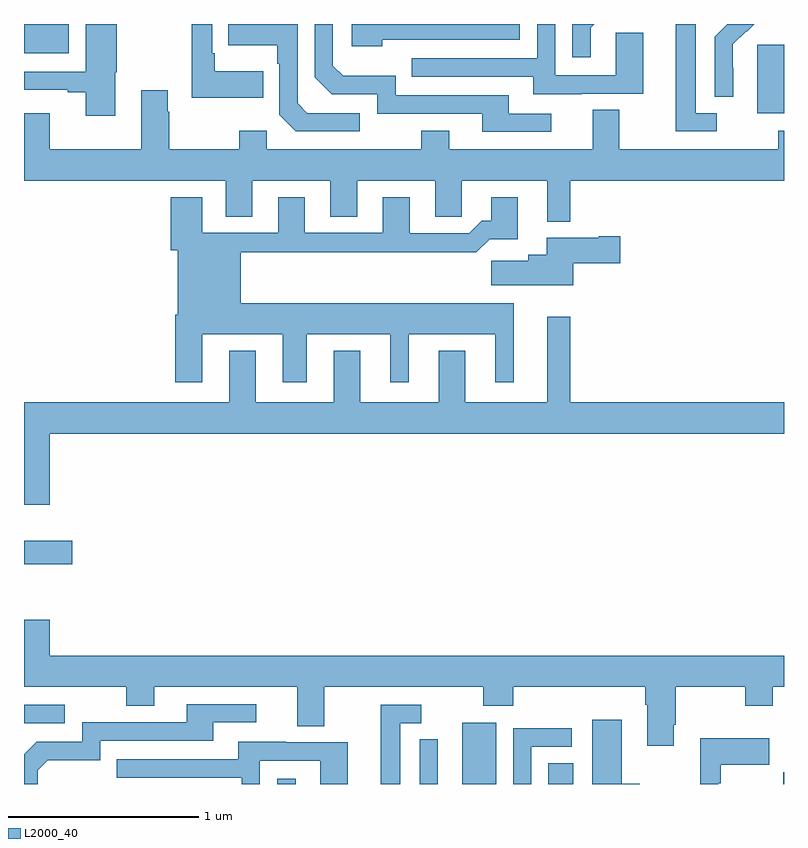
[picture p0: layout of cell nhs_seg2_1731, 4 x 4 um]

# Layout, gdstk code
import gdstk
lib = gdstk.Library(unit=1e-6, precision=1e-09)
def R(c, l, rs):  # rectangles x0, y0, x1, y1
    for r in rs: c.add(gdstk.rectangle(r[:2], r[2:], *l))
def P(c, l, *ps):  # polygons
    for p in ps: c.add(gdstk.Polygon(p, *l))
L2000_40 = (2000, 40)

nhs_seg2_1731 = lib.new_cell('nhs_seg2_1731')
R(nhs_seg2_1731, L2000_40, [(202.332,637.8,202.429,637.828), (203.306,637.8,203.485,638.122), (203.759,637.8,203.89,637.91), (204.996,637.8,205,637.861), (201,638.121,201.214,638.217), (201,638.957,201.253,639.079), (204.86,641.33,205,641.691), (201,641.645,201.235,641.8)])
P(nhs_seg2_1731, L2000_40, [(203.983,641.781),(204.002,641.8),(203.886,641.8),(203.886,641.625),(203.983,641.625)],
  [(202.768,641.331),(202.491,641.331),(202.44,641.382),(202.44,641.8),(202.075,641.8),(202.075,641.687),(202.332,641.687),(202.332,641.591),(202.344,641.591),(202.344,641.322),(202.431,641.235),(202.768,641.235)],
  [(202.259,641.551),(202.003,641.551),(202.003,641.647),(201.99,641.647),(201.99,641.8),(201.882,641.8),(201.882,641.411),(202.259,641.411)],
  [(201.481,641.547),(201.489,641.547),(201.489,641.8),(201.326,641.8),(201.326,641.55),(201,641.55),(201,641.454),(201.23,641.454),(201.23,641.442),(201.326,641.442),(201.326,641.316),(201.481,641.316)],
  [(204.646,641.331),(204.535,641.331),(204.535,641.8),(204.431,641.8),(204.431,641.235),(204.646,641.235)],
  [(202.886,641.718),(203.61,641.718),(203.61,641.8),(202.725,641.8),(202.725,641.684),(202.886,641.684)],
  [(204.732,641.57),(204.731,641.57),(204.731,641.693),(204.801,641.763),(204.804,641.76),(204.844,641.8),(204.702,641.8),(204.636,641.734),(204.636,641.416),(204.732,641.416)],
  [(203.776,641.328),(203.551,641.328),(203.551,641.424),(202.956,641.424),(202.956,641.527),(202.679,641.527),(202.626,641.58),(202.626,641.8),(202.53,641.8),(202.53,641.52),(202.62,641.43),(202.86,641.43),(202.86,641.328),(203.411,641.328),(203.411,641.232),(203.776,641.232)],
  [(203.935,641.433),(204.259,641.433),(204.259,641.753),(204.114,641.753),(204.114,641.529),(203.796,641.529),(203.796,641.8),(203.7,641.8),(203.7,641.619),(203.041,641.619),(203.041,641.523),(203.681,641.523),(203.681,641.429),(203.935,641.429)],
  [(203.875,640.976),(205,640.976),(205,641.239),(204.97,641.239),(204.97,641.14),(204.133,641.14),(204.133,641.348),(203.993,641.348),(203.993,641.14),(203.239,641.14),(203.239,641.239),(203.092,641.239),(203.092,641.14),(202.278,641.14),(202.278,641.239),(202.132,641.239),(202.132,641.14),(201.765,641.14),(201.765,641.339),(201.757,641.339),(201.757,641.452),(201.617,641.452),(201.617,641.14),(201.136,641.14),(201.136,641.329),(201,641.329),(201,640.976),(202.061,640.976),(202.061,640.786),(202.201,640.786),(202.201,640.976),(202.613,640.976),(202.613,640.786),(202.753,640.786),(202.753,640.976),(203.165,640.976),(203.165,640.786),(203.304,640.786),(203.304,640.976),(203.753,640.976),(203.753,640.76),(203.875,640.76)],
  [(201.937,640.166),(202.361,640.166),(202.361,639.915),(202.489,639.915),(202.489,640.166),(202.928,640.166),(202.928,639.915),(203.026,639.915),(203.026,640.166),(203.48,640.166),(203.48,639.915),(203.578,639.915),(203.578,640.33),(202.141,640.33),(202.141,640.6),(203.125,640.6),(203.125,640.598),(203.381,640.598),(203.45,640.667),(203.599,640.667),(203.599,640.888),(203.459,640.888),(203.459,640.765),(203.41,640.765),(203.343,640.698),(203.029,640.698),(203.029,640.888),(202.889,640.888),(202.889,640.701),(202.477,640.701),(202.477,640.888),(202.337,640.888),(202.337,640.701),(201.937,640.701),(201.937,640.888),(201.773,640.888),(201.773,640.608),(201.809,640.608),(201.809,640.27),(201.797,640.27),(201.797,639.915),(201.937,639.915)],
  [(203.89,640.541),(204.139,640.541),(204.139,640.683),(204.026,640.683),(204.026,640.675),(203.75,640.675),(203.75,640.585),(203.654,640.585),(203.654,640.553),(203.46,640.553),(203.46,640.424),(203.89,640.424)],
  [(201.136,639.644),(205,639.644),(205,639.808),(203.875,639.808),(203.875,640.258),(203.753,640.258),(203.753,639.808),(203.323,639.808),(203.323,640.081),(203.183,640.081),(203.183,639.808),(202.771,639.808),(202.771,640.081),(202.631,640.081),(202.631,639.808),(202.219,639.808),(202.219,640.081),(202.079,640.081),(202.079,639.808),(201,639.808),(201,639.27),(201.136,639.27)],
  [(204.421,638.113),(204.429,638.113),(204.429,638.312),(204.796,638.312),(204.796,638.213),(204.942,638.213),(204.942,638.312),(205,638.312),(205,638.476),(201.136,638.476),(201.136,638.665),(201,638.665),(201,638.312),(201.538,638.312),(201.538,638.213),(201.685,638.213),(201.685,638.312),(202.439,638.312),(202.439,638.104),(202.579,638.104),(202.579,638.312),(203.416,638.312),(203.416,638.213),(203.576,638.213),(203.576,638.312),(204.269,638.312),(204.269,638.216),(204.281,638.216),(204.281,638.001),(204.421,638.001)],
  [(201.072,637.872),(201.125,637.925),(201.402,637.925),(201.402,638.028),(201.997,638.028),(201.997,638.124),(202.222,638.124),(202.222,638.22),(201.857,638.22),(201.857,638.124),(201.306,638.124),(201.306,638.022),(201.066,638.022),(201,637.956),(201,637.8),(201.072,637.8)],
  [(202.981,638.121),(203.092,638.121),(203.092,638.217),(202.877,638.217),(202.877,637.8),(202.981,637.8)],
  [(204.241,637.802),(204.145,637.802),(204.145,638.137),(203.99,638.137),(203.99,637.8),(204.241,637.8)],
  [(203.67,637.995),(203.884,637.995),(203.884,638.094),(203.574,638.094),(203.574,637.8),(203.67,637.8)],
  [(204.654,637.805),(204.667,637.805),(204.667,637.901),(204.923,637.901),(204.923,638.041),(204.558,638.041),(204.558,637.8),(204.654,637.8)],
  [(203.177,637.882),(203.178,637.882),(203.178,638.036),(203.082,638.036),(203.082,637.8),(203.177,637.8)],
  [(202.242,637.923),(202.56,637.923),(202.56,637.8),(202.705,637.8),(202.705,638.019),(202.381,638.019),(202.381,638.023),(202.127,638.023),(202.127,637.929),(201.487,637.929),(201.487,637.833),(202.146,637.833),(202.146,637.8),(202.242,637.8)])

lib.write_gds('nhs_seg2_1731.gds')
